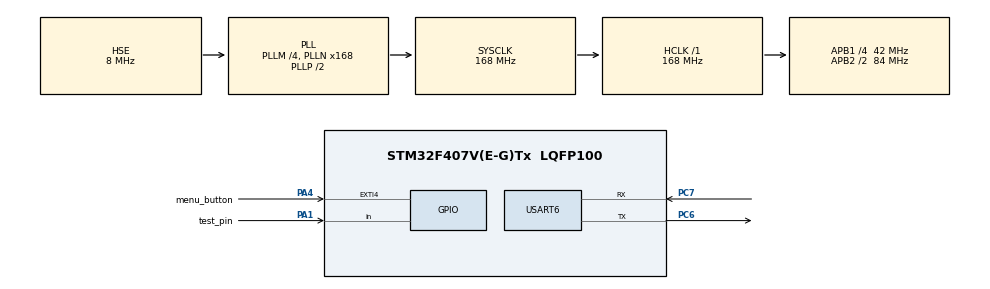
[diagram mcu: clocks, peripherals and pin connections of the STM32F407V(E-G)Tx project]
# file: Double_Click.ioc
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Mcu.Family=STM32F4
Mcu.Name=STM32F407V(E-G)Tx
Mcu.Package=LQFP100
NVIC.EXTI4_IRQn=true\:0\:0\:false\:false\:true\:true\:true
NVIC.PriorityGroup=NVIC_PRIORITYGROUP_4
NVIC.TIM8_TRG_COM_TIM14_IRQn=true\:15\:0\:false\:false\:true\:false\:true
NVIC.TimeBase=TIM8_TRG_COM_TIM14_IRQn
NVIC.TimeBaseIP=TIM14
PA1.GPIO_Label=test_pin
PA1.Signal=GPIO_Input
PA13.Mode=Serial_Wire
PA13.Signal=SYS_JTMS-SWDIO
PA14.Mode=Serial_Wire
PA14.Signal=SYS_JTCK-SWCLK
PA4.GPIO_Label=menu_button
PA4.GPIO_ModeDefaultEXTI=GPIO_MODE_IT_FALLING
PA4.GPIO_PuPd=GPIO_PULLUP
PA4.Signal=GPXTI4
PC6.Mode=Asynchronous
PC6.Signal=USART6_TX
PC7.Mode=Asynchronous
PC7.Signal=USART6_RX
PH0-OSC_IN.Mode=HSE-External-Oscillator
PH0-OSC_IN.Signal=RCC_OSC_IN
PH1-OSC_OUT.Mode=HSE-External-Oscillator
PH1-OSC_OUT.Signal=RCC_OSC_OUT
ProjectManager.HeapSize=0x200
ProjectManager.StackSize=0x400
ProjectManager.TargetToolchain=STM32CubeIDE
RCC.48MHZClocksFreq_Value=84000000
RCC.AHBFreq_Value=168000000
RCC.APB1CLKDivider=RCC_HCLK_DIV4
RCC.APB1Freq_Value=42000000
RCC.APB1TimFreq_Value=84000000
RCC.APB2CLKDivider=RCC_HCLK_DIV2
RCC.APB2Freq_Value=84000000
RCC.APB2TimFreq_Value=168000000
RCC.CortexFreq_Value=168000000
RCC.HCLKFreq_Value=168000000
RCC.HSE_VALUE=8000000
RCC.HSI_VALUE=16000000
RCC.LSE_VALUE=32768
RCC.PLLM=4
RCC.PLLN=168
RCC.PLLSourceVirtual=RCC_PLLSOURCE_HSE
RCC.SYSCLKFreq_VALUE=168000000
RCC.SYSCLKSource=RCC_SYSCLKSOURCE_PLLCLK
RCC.VCOOutputFreq_Value=336000000
USART6.VirtualMode=VM_ASYNC
VP_SYS_VS_tim14.Mode=TIM14
board=custom

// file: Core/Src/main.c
/* USER CODE BEGIN Header */
/**
  ******************************************************************************
  * @file           : main.c
  * @brief          : Main program body
  ******************************************************************************
  * @attention
  *
  * Copyright (c) 2022 STMicroelectronics.
  * All rights reserved.
  *
  * This software is licensed under terms that can be found in the LICENSE file
  * in the root directory of this software component.
  * If no LICENSE file comes with this software, it is provided AS-IS.
  *
  ******************************************************************************
  */
/* USER CODE END Header */
#include "main.h"

/* USER CODE BEGIN Includes */
#include <stdio.h>/* для printf */
/* USER CODE END Includes */

UART_HandleTypeDef huart6;

void SystemClock_Config(void);
static void MX_GPIO_Init(void);
static void MX_USART6_UART_Init(void);
/* USER CODE BEGIN PFP */
int _write(int file, char *ptr, int len) {
	int i;
	HAL_UART_Transmit(&huart6, (uint8_t*) ptr, len, 50);
	for (i = 0; i < len; i++) {
		ITM_SendChar(*ptr++);
	}
	return len;
}
/* USER CODE END PFP */

/* USER CODE BEGIN 0 */
MenuButton_t hMenuButton;
/* USER CODE END 0 */

int main(void)
{
  /* USER CODE BEGIN 1 */
	hMenuButton.buttonFlag.data = RESET; //Flag reset
  /* USER CODE END 1 */

  /* MCU Configuration--------------------------------------------------------*/

  /* Reset of all peripherals, Initializes the Flash interface and the Systick. */
  HAL_Init();

  /* Configure the system clock */
  SystemClock_Config();

  /* Initialize all configured peripherals */
  MX_GPIO_Init();
  MX_USART6_UART_Init();

  /* Infinite loop */
  while (1)
  {

    /* USER CODE BEGIN 3 */
	  if(hMenuButton.buttonFlag.bit.B0)
		  {
			  if(MenuButton_Debounce())											//Apply de-bounce algorithm before taking any action
			  {
				  hMenuButton.buttonFlag.bit.B0 = RESET;						//Reset interrupt flag

				  if(hMenuButton.buttonTimerEnable != SET)						//Start timer when the menu button gets pressed for the first time
				  {
					  hMenuButton.buttonTimerEnable = SET;						//Enable software timer
					  hMenuButton.buttonStatus = MenuButtonStatus_oneClick;		//The menu button has been pressed for one time
					  setTimer(&hMenuButton.buttonTimer);						//Start software timer
				  }
				  else
				  {
					  hMenuButton.buttonStatus = MenuButtonStatus_doubleClick;	//If the timer is already started this means that the button is pressed for the second time
				  }
			  }
		  }
		  if((checkTimer(&hMenuButton.buttonTimer, 5 * hMenuButton.buttonHeldPressedCounter)) && ( hMenuButton.buttonStatus == MenuButtonStatus_oneClick))
		  {																		//If the menu button has been pressed, take logic sample every 10 ms from the button read pin
			  if(!HAL_GPIO_ReadPin(menu_button_GPIO_Port, menu_button_Pin))		//To check if the button is still pressed
			  {
				  ++hMenuButton.buttonHeldPressedCounter;						//Increment samples number
			  }
			  hMenuButton.buttonStatus = (hMenuButton.buttonHeldPressedCounter >= 65)  ? MenuButtonStatus_heldPressed : hMenuButton.buttonStatus;
		  }																		//If the button is held pressed change button status
		  if((checkTimer(&hMenuButton.buttonTimer, 350)) && hMenuButton.buttonTimerEnable)
		  {																		//Take decision after 300 ms whether one click, double click or held pressed event has occured
			  switch(hMenuButton.buttonStatus)
			  {
			  	  case	MenuButtonStatus_oneClick:
			  		printf("oneClick \r\n");
			  		  break;
			  	  case 	MenuButtonStatus_doubleClick:
			  		printf("doubleClick \r\n");
			  		 break;
			  	  case MenuButtonStatus_heldPressed:
			  		printf("heldPressed \r\n");
			  		 break;
			  	case MenuButtonStatus_notPressed:
			  		 break;

			  }
			  hMenuButton.buttonTimerEnable 		= RESET;					//Disable software timer
			  hMenuButton.buttonHeldPressedCounter 	= RESET;					//Reset counter
			  hMenuButton.buttonStatus 				= MenuButtonStatus_notPressed;
			  	  	  	  	  	  	  	  	  	  	  	  	  	  	  	  	  	//button status is set to no press to avoid misbehavior of the button functionality
		  }
	  }
  /* USER CODE END 3 */
}

void SystemClock_Config(void)
{
  RCC_OscInitTypeDef RCC_OscInitStruct = {0};
  RCC_ClkInitTypeDef RCC_ClkInitStruct = {0};

  /** Configure the main internal regulator output voltage
  */
  __HAL_RCC_PWR_CLK_ENABLE();
  __HAL_PWR_VOLTAGESCALING_CONFIG(PWR_REGULATOR_VOLTAGE_SCALE1);
  /** Initializes the RCC Oscillators according to the specified parameters
  * in the RCC_OscInitTypeDef structure.
  */
  RCC_OscInitStruct.OscillatorType = RCC_OSCILLATORTYPE_HSE;
  RCC_OscInitStruct.HSEState = RCC_HSE_ON;
  RCC_OscInitStruct.PLL.PLLState = RCC_PLL_ON;
  RCC_OscInitStruct.PLL.PLLSource = RCC_PLLSOURCE_HSE;
  RCC_OscInitStruct.PLL.PLLM = 4;
  RCC_OscInitStruct.PLL.PLLN = 168;
  RCC_OscInitStruct.PLL.PLLP = RCC_PLLP_DIV2;
  RCC_OscInitStruct.PLL.PLLQ = 4;
  if (HAL_RCC_OscConfig(&RCC_OscInitStruct) != HAL_OK)
  {
    Error_Handler();
  }
  /** Initializes the CPU, AHB and APB buses clocks
  */
  RCC_ClkInitStruct.ClockType = RCC_CLOCKTYPE_HCLK|RCC_CLOCKTYPE_SYSCLK
                              |RCC_CLOCKTYPE_PCLK1|RCC_CLOCKTYPE_PCLK2;
  RCC_ClkInitStruct.SYSCLKSource = RCC_SYSCLKSOURCE_PLLCLK;
  RCC_ClkInitStruct.AHBCLKDivider = RCC_SYSCLK_DIV1;
  RCC_ClkInitStruct.APB1CLKDivider = RCC_HCLK_DIV4;
  RCC_ClkInitStruct.APB2CLKDivider = RCC_HCLK_DIV2;

  if (HAL_RCC_ClockConfig(&RCC_ClkInitStruct, FLASH_LATENCY_5) != HAL_OK)
  {
    Error_Handler();
  }
}

static void MX_USART6_UART_Init(void)
{

  huart6.Instance = USART6;
  huart6.Init.BaudRate = 115200;
  huart6.Init.WordLength = UART_WORDLENGTH_8B;
  huart6.Init.StopBits = UART_STOPBITS_1;
  huart6.Init.Parity = UART_PARITY_NONE;
  huart6.Init.Mode = UART_MODE_TX_RX;
  huart6.Init.HwFlowCtl = UART_HWCONTROL_NONE;
  huart6.Init.OverSampling = UART_OVERSAMPLING_16;
  if (HAL_UART_Init(&huart6) != HAL_OK)
  {
    Error_Handler();
  }

}

static void MX_GPIO_Init(void)
{
  GPIO_InitTypeDef GPIO_InitStruct = {0};

  /* GPIO Ports Clock Enable */
  __HAL_RCC_GPIOH_CLK_ENABLE();
  __HAL_RCC_GPIOA_CLK_ENABLE();
  __HAL_RCC_GPIOC_CLK_ENABLE();

  /*Configure GPIO pin : test_pin_Pin */
  GPIO_InitStruct.Pin = test_pin_Pin;
  GPIO_InitStruct.Mode = GPIO_MODE_INPUT;
  GPIO_InitStruct.Pull = GPIO_NOPULL;
  HAL_GPIO_Init(test_pin_GPIO_Port, &GPIO_InitStruct);

  /*Configure GPIO pin : menu_button_Pin */
  GPIO_InitStruct.Pin = menu_button_Pin;
  GPIO_InitStruct.Mode = GPIO_MODE_IT_FALLING;
  GPIO_InitStruct.Pull = GPIO_PULLUP;
  HAL_GPIO_Init(menu_button_GPIO_Port, &GPIO_InitStruct);

  /* EXTI interrupt init*/
  HAL_NVIC_SetPriority(EXTI4_IRQn, 0, 0);
  HAL_NVIC_EnableIRQ(EXTI4_IRQn);

}

/* USER CODE BEGIN 4 */
uint8_t MenuButton_Debounce(void) //Menu Button debounce function
{
	uint8_t 		ret = DISABLE;
	static uint16_t Level = Restart_Level;
	if(!HAL_GPIO_ReadPin(menu_button_GPIO_Port, menu_button_Pin))
	{
		++Level;
	}
	else
	{
		--Level;
		if(Level <= Restart_Level)
		{
			Level = Restart_Level;
		}
	}
	if(Level >= 4000)
	{
		Level = Acceptance_Level;
		ret = ENABLE;
	}
	return ret;
}

void setTimer(uint32_t* timer)
{
	*timer = HAL_GetTick();
}
uint8_t checkTimer(uint32_t* timer, uint32_t msTime)
{
	uint8_t ret = RESET;
	ret = ((HAL_GetTick() - *timer) > msTime)  ? ENABLE : DISABLE;
	return ret;
}
/* USER CODE END 4 */

void HAL_TIM_PeriodElapsedCallback(TIM_HandleTypeDef *htim)
{
  if (htim->Instance == TIM14) {
    HAL_IncTick();
  }
}

void Error_Handler(void)
{
  __disable_irq();
  while (1)
  {
  }
}
